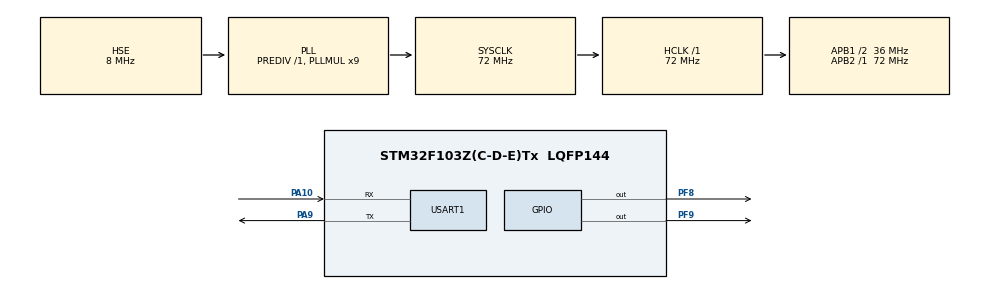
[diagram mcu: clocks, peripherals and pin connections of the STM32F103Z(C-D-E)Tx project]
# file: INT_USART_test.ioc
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Mcu.Family=STM32F1
Mcu.Name=STM32F103Z(C-D-E)Tx
Mcu.Package=LQFP144
NVIC.PriorityGroup=NVIC_PRIORITYGROUP_4
NVIC.USART1_IRQn=true\:0\:0\:false\:false\:true\:true\:true\:true
OSC_IN.Mode=HSE-External-Oscillator
OSC_IN.Signal=RCC_OSC_IN
OSC_OUT.Mode=HSE-External-Oscillator
OSC_OUT.Signal=RCC_OSC_OUT
PA10.Mode=Asynchronous
PA10.Signal=USART1_RX
PA13.Mode=Serial_Wire
PA13.Signal=SYS_JTMS-SWDIO
PA14.Mode=Serial_Wire
PA14.Signal=SYS_JTCK-SWCLK
PA9.Mode=Asynchronous
PA9.Signal=USART1_TX
PF8.PinState=GPIO_PIN_SET
PF8.Signal=GPIO_Output
PF9.PinState=GPIO_PIN_SET
PF9.Signal=GPIO_Output
ProjectManager.HeapSize=0x200
ProjectManager.StackSize=0x400
ProjectManager.TargetToolchain=MDK-ARM V5.32
RCC.AHBFreq_Value=72000000
RCC.APB1CLKDivider=RCC_HCLK_DIV2
RCC.APB1Freq_Value=36000000
RCC.APB1TimFreq_Value=72000000
RCC.APB2Freq_Value=72000000
RCC.APB2TimFreq_Value=72000000
RCC.HCLKFreq_Value=72000000
RCC.PLLMUL=RCC_PLL_MUL9
RCC.PLLSourceVirtual=RCC_PLLSOURCE_HSE
RCC.SYSCLKFreq_VALUE=72000000
RCC.SYSCLKSource=RCC_SYSCLKSOURCE_PLLCLK
RCC.USBFreq_Value=72000000
USART1.Parity=PARITY_ODD
USART1.VirtualMode=VM_ASYNC
USART1.WordLength=WORDLENGTH_9B
board=custom

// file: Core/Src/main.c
/* USER CODE BEGIN Header */
/**
  ******************************************************************************
  * @file           : main.c
  * @brief          : Main program body
  ******************************************************************************
  * @attention
  *
  * Copyright (c) 2026 STMicroelectronics.
  * All rights reserved.
  *
  * This software is licensed under terms that can be found in the LICENSE file
  * in the root directory of this software component.
  * If no LICENSE file comes with this software, it is provided AS-IS.
  *
  ******************************************************************************
  */
/* USER CODE END Header */
#include "main.h"

/* USER CODE BEGIN PM */
#define BUFFER_SIZE 128
/* USER CODE END PM */

UART_HandleTypeDef huart1;

/* USER CODE BEGIN PV */

volatile static uint16_t rx_index = 0; // 接收缓冲区当前索引位置
static uint8_t rx_buffer[BUFFER_SIZE]; // 接收缓冲区
static uint8_t tx_buffer[BUFFER_SIZE]; // 发送缓冲区

/* USER CODE END PV */

void SystemClock_Config(void);
static void MX_GPIO_Init(void);
static void MX_USART1_UART_Init(void);

int main(void)
{

  /* MCU Configuration--------------------------------------------------------*/

  /* Reset of all peripherals, Initializes the Flash interface and the Systick. */
  HAL_Init();

  /* Configure the system clock */
  SystemClock_Config();

  /* Initialize all configured peripherals */
  MX_GPIO_Init();
  MX_USART1_UART_Init();
  /* USER CODE BEGIN 2 */
  HAL_UART_Receive_IT(&huart1, &rx_buffer[rx_index], 1); // 不会阻塞
  /* USER CODE END 2 */

  /* Infinite loop */
  while (1)
  {

  }
}

void SystemClock_Config(void)
{
  RCC_OscInitTypeDef RCC_OscInitStruct = {0};
  RCC_ClkInitTypeDef RCC_ClkInitStruct = {0};

  /** Initializes the RCC Oscillators according to the specified parameters
  * in the RCC_OscInitTypeDef structure.
  */
  RCC_OscInitStruct.OscillatorType = RCC_OSCILLATORTYPE_HSE;
  RCC_OscInitStruct.HSEState = RCC_HSE_ON;
  RCC_OscInitStruct.HSEPredivValue = RCC_HSE_PREDIV_DIV1;
  RCC_OscInitStruct.HSIState = RCC_HSI_ON;
  RCC_OscInitStruct.PLL.PLLState = RCC_PLL_ON;
  RCC_OscInitStruct.PLL.PLLSource = RCC_PLLSOURCE_HSE;
  RCC_OscInitStruct.PLL.PLLMUL = RCC_PLL_MUL9;
  if (HAL_RCC_OscConfig(&RCC_OscInitStruct) != HAL_OK)
  {
    Error_Handler();
  }

  /** Initializes the CPU, AHB and APB buses clocks
  */
  RCC_ClkInitStruct.ClockType = RCC_CLOCKTYPE_HCLK|RCC_CLOCKTYPE_SYSCLK
                              |RCC_CLOCKTYPE_PCLK1|RCC_CLOCKTYPE_PCLK2;
  RCC_ClkInitStruct.SYSCLKSource = RCC_SYSCLKSOURCE_PLLCLK;
  RCC_ClkInitStruct.AHBCLKDivider = RCC_SYSCLK_DIV1;
  RCC_ClkInitStruct.APB1CLKDivider = RCC_HCLK_DIV2;
  RCC_ClkInitStruct.APB2CLKDivider = RCC_HCLK_DIV1;

  if (HAL_RCC_ClockConfig(&RCC_ClkInitStruct, FLASH_LATENCY_2) != HAL_OK)
  {
    Error_Handler();
  }
}

static void MX_USART1_UART_Init(void)
{

  huart1.Instance = USART1;
  huart1.Init.BaudRate = 115200;
  huart1.Init.WordLength = UART_WORDLENGTH_9B;
  huart1.Init.StopBits = UART_STOPBITS_1;
  huart1.Init.Parity = UART_PARITY_ODD;
  huart1.Init.Mode = UART_MODE_TX_RX;
  huart1.Init.HwFlowCtl = UART_HWCONTROL_NONE;
  huart1.Init.OverSampling = UART_OVERSAMPLING_16;
  if (HAL_UART_Init(&huart1) != HAL_OK)
  {
    Error_Handler();
  }

}

static void MX_GPIO_Init(void)
{
  GPIO_InitTypeDef GPIO_InitStruct = {0};

  /* GPIO Ports Clock Enable */
  __HAL_RCC_GPIOF_CLK_ENABLE();
  __HAL_RCC_GPIOA_CLK_ENABLE();

  /*Configure GPIO pin Output Level */
  HAL_GPIO_WritePin(GPIOF, GPIO_PIN_8|GPIO_PIN_9, GPIO_PIN_SET);

  /*Configure GPIO pins : PF8 PF9 */
  GPIO_InitStruct.Pin = GPIO_PIN_8|GPIO_PIN_9;
  GPIO_InitStruct.Mode = GPIO_MODE_OUTPUT_PP;
  GPIO_InitStruct.Pull = GPIO_NOPULL;
  GPIO_InitStruct.Speed = GPIO_SPEED_FREQ_LOW;
  HAL_GPIO_Init(GPIOF, &GPIO_InitStruct);

}

/* USER CODE BEGIN 4 */

static void Handler_Data(void)
{
  HAL_GPIO_WritePin(GPIOF, GPIO_PIN_8, GPIO_PIN_RESET);
  uint16_t rx_total = rx_index+1;
  for(int i = 0; i < rx_total; i++)
  {
    if(rx_buffer[i] >= 'a' && rx_buffer[i] <= 'z') // 是一个小写字母
    {
      tx_buffer[i] = rx_buffer[i] - 32;
    }
    else if(rx_buffer[i] >= 'A' && rx_buffer[i] <= 'Z') // 是一个大写字母
    {
      tx_buffer[i] = rx_buffer[i] + 32;
    }
    else
    {
      tx_buffer[i] = rx_buffer[i];
    }
  }
}

void HAL_UART_RxCpltCallback(UART_HandleTypeDef *huart)
{
  if(huart->Instance == USART1)
  {
    if(rx_index > BUFFER_SIZE-1)
    {
      rx_index = 0;
      HAL_GPIO_WritePin(GPIOF, GPIO_PIN_9, GPIO_PIN_RESET); // 故障灯点亮
      return;
    }
    else if(rx_buffer[rx_index] == '\n')
    {
      Handler_Data();
      HAL_UART_Transmit_IT(&huart1, tx_buffer, rx_index+1); // 发送是一次交付给HAL库！！
      rx_index = 0;
    }
    else
    {
      rx_index++;
    }
    HAL_UART_Receive_IT(&huart1, &rx_buffer[rx_index], 1);
  }
}

void HAL_UART_TxCpltCallback(UART_HandleTypeDef *huart)
{
  if(huart->Instance == USART1)
  {
    HAL_GPIO_WritePin(GPIOF, GPIO_PIN_8, GPIO_PIN_SET);
  }
}

/* USER CODE END 4 */

void Error_Handler(void)
{
  __disable_irq();
  while (1)
  {
  }
}
